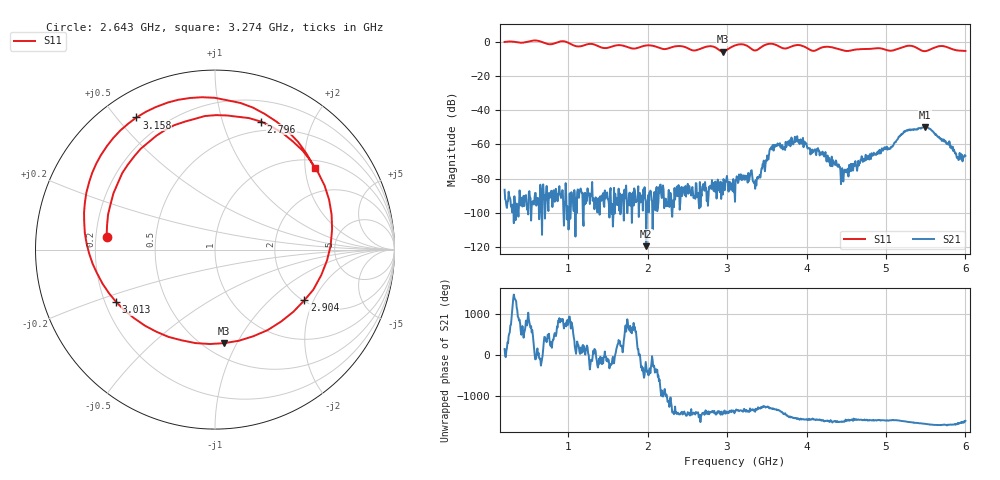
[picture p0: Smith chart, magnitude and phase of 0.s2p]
! NanoVNA-App by OneOfEleven et al v1.1.209 (+OD15)
! Date: 2024-07-30 15:17:34
! Start: 200MHz Stop: 6GHz Points: 801
! S-Parameter data: F S11 S21 S12 S22
# Hz S RI R 50
!  Frequency  S11_Real  S11_Imag  S21_Real  S21_Imag  S12_Real  S12_Imag  S22_Real  S22_Imag
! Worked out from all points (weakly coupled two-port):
!   801 points, 200 MHz to 6 GHz, reference 50 ohm
!   highest |S21| = -49.83 dB at 5.492 GHz (marker M1); lowest = -119.6 dB at 1.984 GHz (marker M2)
!   lowest |S11| = -5.6 dB at 2.948 GHz (marker M3), VSWR 3.20, Z = 31 - j44.5 ohm
!   |S11| at or under -10 dB: nowhere
!   S12 and S22 are empty: the file has one direction only
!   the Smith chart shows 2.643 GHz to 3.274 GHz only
!   S11 on the Smith chart (normalised r, x): 2.643 GHz: 0.24, +0.05; 2.796 GHz: 0.40, +1.34; 2.904 GHz: 2.03, -1.70; 3.013 GHz: 0.25, -0.23; 3.158 GHz: 0.10, +0.56; 3.274 GHz: 1.19, +2.25
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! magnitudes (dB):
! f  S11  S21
! 200 MHz  0.1  -86.6
! 1.171 GHz  -2.3  -88.6
! 1.984 GHz  -2.0  -119.6
! 2.136 GHz  -3.2  -94.2
! 2.643 GHz  -4.3  -94.3
! 2.796 GHz  -2.4  -84.9
! 2.904 GHz  -4.8  -83.8
! 2.948 GHz  -5.6  -89.4
! 3.013 GHz  -4.1  -86.6
! 3.1 GHz  -2.0  -93.6
! 3.158 GHz  -1.3  -78.1
! 3.274 GHz  -2.9  -81.6
! 3.397 GHz  -4.1  -79.2
! 3.622 GHz  -1.8  -61.0
! 3.876 GHz  -1.8  -57.4
! 4.072 GHz  -5.1  -63.0
! 4.463 GHz  -4.9  -81.7
! 5.036 GHz  -5.0  -62.3
! 5.253 GHz  -2.4  -52.0
! 5.492 GHz  -5.4  -49.8
! 5.891 GHz  -4.8  -67.7
! 6 GHz  -5.2  -66.7
